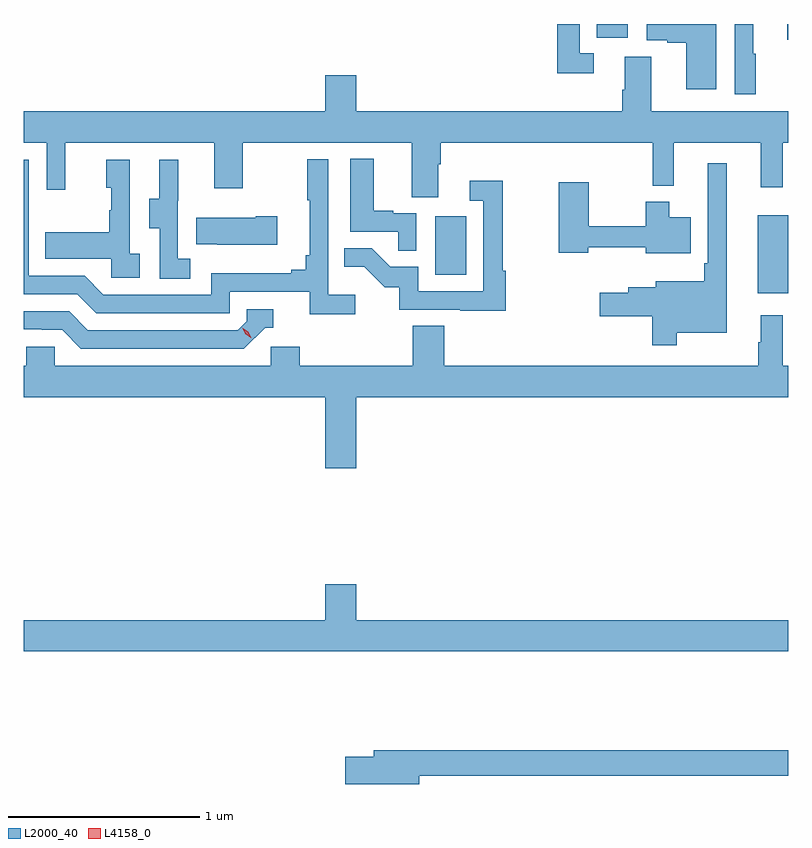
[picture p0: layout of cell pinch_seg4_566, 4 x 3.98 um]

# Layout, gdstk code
import gdstk
lib = gdstk.Library(unit=1e-6, precision=1e-09)
def R(c, l, rs):  # rectangles x0, y0, x1, y1
    for r in rs: c.add(gdstk.rectangle(r[:2], r[2:], *l))
def P(c, l, *ps):  # polygons
    for p in ps: c.add(gdstk.Polygon(p, *l))
L2000_40 = (2000, 40)
L4158_0 = (4158, 0)

pinch_seg4_566 = lib.new_cell('pinch_seg4_566')
R(pinch_seg4_566, L2000_40, [(1114.325,776.051,1114.484,776.461), (1112.636,776.148,1112.8,776.455), (1114.481,777.379,1114.484,777.461), (1113.482,777.39,1113.646,777.461)])
P(pinch_seg4_566, L2000_40, [(1114.315,777.305),(1114.303,777.305),(1114.303,777.461),(1114.206,777.461),(1114.206,777.093),(1114.315,777.093)],
  [(1114.108,777.461),(1113.744,777.461),(1113.744,777.375),(1113.851,777.375),(1113.851,777.363),(1113.95,777.363),(1113.95,777.12),(1114.108,777.12)],
  [(1113.466,777.309),(1113.393,777.309),(1113.393,777.461),(1113.277,777.461),(1113.277,777.204),(1113.466,777.204)],
  [(1112.653,776.728),(1112.666,776.728),(1112.666,776.84),(1113.777,776.84),(1113.777,776.615),(1113.887,776.615),(1113.887,776.84),(1114.34,776.84),(1114.34,776.607),(1114.457,776.607),(1114.457,776.84),(1114.484,776.84),(1114.484,777.004),(1113.769,777.004),(1113.769,777.29),(1113.629,777.29),(1113.629,777.116),(1113.617,777.116),(1113.617,777.004),(1112.224,777.004),(1112.224,777.193),(1112.06,777.193),(1112.06,777.004),(1110.484,777.004),(1110.484,776.84),(1110.603,776.84),(1110.603,776.592),(1110.701,776.592),(1110.701,776.84),(1111.481,776.84),(1111.481,776.601),(1111.629,776.601),(1111.629,776.84),(1112.513,776.84),(1112.513,776.554),(1112.653,776.554)],
  [(1112.538,776.469),(1112.417,776.469),(1112.417,776.482),(1112.314,776.482),(1112.314,776.755),(1112.192,776.755),(1112.192,776.373),(1112.443,776.373),(1112.443,776.275),(1112.538,776.275)],
  [(1112.218,776.044),(1112.076,776.044),(1112.076,776.752),(1111.968,776.752),(1111.968,776.539),(1111.979,776.539),(1111.979,776.251),(1111.96,776.251),(1111.96,776.174),(1111.883,776.174),(1111.883,776.155),(1111.464,776.155),(1111.464,776.043),(1110.9,776.043),(1110.801,776.142),(1110.51,776.142),(1110.51,776.751),(1110.484,776.751),(1110.484,776.046),(1110.764,776.046),(1110.863,775.947),(1111.56,775.947),(1111.56,776.058),(1111.979,776.058),(1111.979,775.942),(1112.218,775.942)],
  [(1111.354,776.231),(1111.29,776.231),(1111.29,776.535),(1111.292,776.535),(1111.292,776.749),(1111.193,776.749),(1111.193,776.547),(1111.139,776.547),(1111.139,776.392),(1111.194,776.392),(1111.194,776.128),(1111.354,776.128)],
  [(1111.09,776.258),(1111.038,776.258),(1111.038,776.749),(1110.914,776.749),(1110.914,776.604),(1110.94,776.604),(1110.94,776.486),(1110.93,776.486),(1110.93,776.371),(1110.595,776.371),(1110.595,776.231),(1110.942,776.231),(1110.942,776.133),(1111.09,776.133)],
  [(1113.901,775.844),(1114.162,775.844),(1114.162,776.731),(1114.065,776.731),(1114.065,776.209),(1114.045,776.209),(1114.045,776.113),(1113.791,776.113),(1113.791,776.083),(1113.647,776.083),(1113.647,776.053),(1113.498,776.053),(1113.498,775.931),(1113.772,775.931),(1113.772,775.779),(1113.901,775.779)],
  [(1113.005,776.168),(1112.99,776.168),(1112.99,776.641),(1112.817,776.641),(1112.817,776.535),(1112.889,776.535),(1112.889,776.061),(1112.547,776.061),(1112.547,776.19),(1112.402,776.19),(1112.304,776.288),(1112.161,776.288),(1112.161,776.189),(1112.265,776.189),(1112.372,776.082),(1112.449,776.082),(1112.449,775.965),(1112.767,775.965),(1112.767,775.96),(1113.005,775.96)],
  [(1113.976,776.449),(1113.862,776.449),(1113.862,776.53),(1113.74,776.53),(1113.74,776.401),(1113.442,776.401),(1113.442,776.632),(1113.284,776.632),(1113.284,776.264),(1113.438,776.264),(1113.438,776.291),(1113.74,776.291),(1113.74,776.261),(1113.976,776.261)],
  [(1111.81,776.454),(1111.697,776.454),(1111.697,776.446),(1111.387,776.446),(1111.387,776.309),(1111.495,776.309),(1111.495,776.306),(1111.81,776.306)],
  [(1111.746,775.872),(1111.789,775.872),(1111.789,775.968),(1111.65,775.968),(1111.65,775.905),(1111.602,775.857),(1110.819,775.857),(1110.72,775.956),(1110.484,775.956),(1110.484,775.863),(1110.576,775.863),(1110.576,775.86),(1110.683,775.86),(1110.782,775.761),(1111.635,775.761)],
  [(1112.224,775.508),(1114.484,775.508),(1114.484,775.672),(1114.457,775.672),(1114.457,775.936),(1114.34,775.936),(1114.34,775.796),(1114.329,775.796),(1114.329,775.672),(1112.684,775.672),(1112.684,775.88),(1112.519,775.88),(1112.519,775.672),(1111.928,775.672),(1111.928,775.77),(1111.776,775.77),(1111.776,775.672),(1110.645,775.672),(1110.645,775.77),(1110.495,775.77),(1110.495,775.672),(1110.484,775.672),(1110.484,775.508),(1112.06,775.508),(1112.06,775.134),(1112.224,775.134)],
  [(1114.484,774.34),(1112.224,774.34),(1112.224,774.529),(1112.06,774.529),(1112.06,774.34),(1110.484,774.34),(1110.484,774.176),(1114.484,774.176)],
  [(1112.554,773.524),(1114.484,773.524),(1114.484,773.66),(1112.315,773.66),(1112.315,773.624),(1112.166,773.624),(1112.166,773.482),(1112.554,773.482)])
P(pinch_seg4_566, L4158_0, [(1111.672,775.818),(1111.642,775.838),(1111.626,775.871),(1111.626,775.872),(1111.627,775.872),(1111.657,775.851),(1111.673,775.818),(1111.673,775.818)])

lib.write_gds('pinch_seg4_566.gds')
